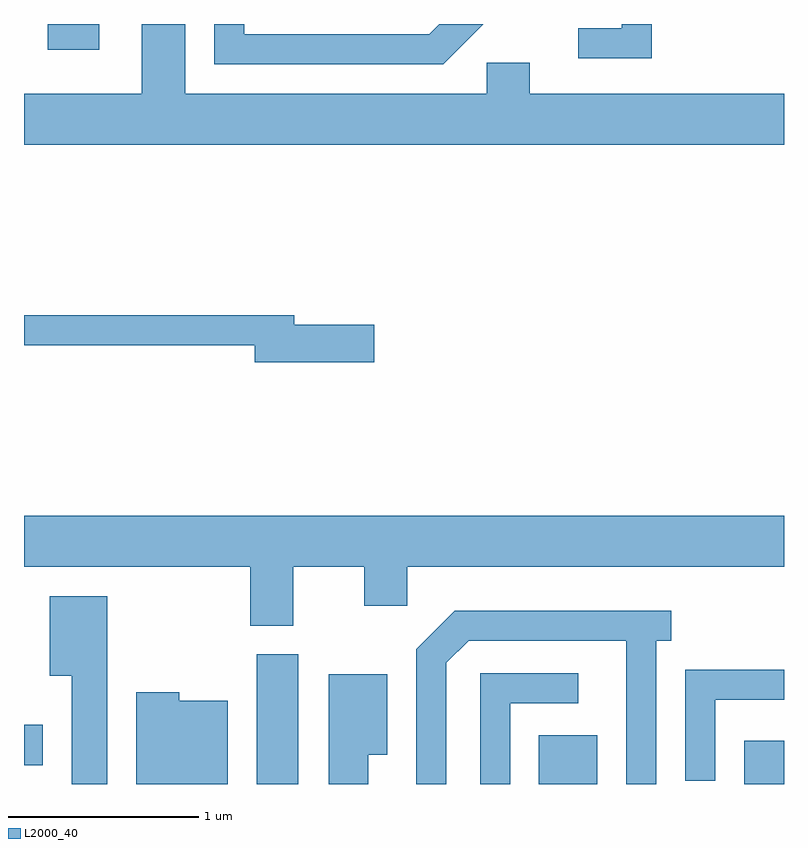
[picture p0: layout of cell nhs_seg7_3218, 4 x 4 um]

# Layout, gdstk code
import gdstk
lib = gdstk.Library(unit=1e-6, precision=1e-09)
def R(c, l, rs):  # rectangles x0, y0, x1, y1
    for r in rs: c.add(gdstk.rectangle(r[:2], r[2:], *l))
def P(c, l, *ps):  # polygons
    for p in ps: c.add(gdstk.Polygon(p, *l))
L2000_40 = (2000, 40)

nhs_seg7_3218 = lib.new_cell('nhs_seg7_3218')
R(nhs_seg7_3218, L2000_40, [(284.836,1744.252,285.054,1744.934), (286.321,1744.252,286.629,1744.509), (287.401,1744.252,287.611,1744.479), (283.611,1744.351,283.709,1744.564), (283.736,1748.116,284.008,1748.252)])
P(nhs_seg7_3218, L2000_40, [(287.611,1747.884),(286.274,1747.884),(286.274,1748.049),(286.046,1748.049),(286.046,1747.884),(284.459,1747.884),(284.459,1748.252),(284.231,1748.252),(284.231,1747.884),(283.611,1747.884),(283.611,1747.616),(287.611,1747.616)],
  [(286.027,1748.252),(285.797,1748.252),(285.744,1748.199),(284.769,1748.199),(284.769,1748.252),(284.611,1748.252),(284.611,1748.041),(285.817,1748.041)],
  [(286.914,1748.252),(286.756,1748.252),(286.756,1748.229),(286.528,1748.229),(286.528,1748.071),(286.914,1748.071)],
  [(285.454,1746.669),(285.034,1746.669),(285.034,1746.719),(283.611,1746.719),(283.611,1746.561),(284.826,1746.561),(284.826,1746.471),(285.454,1746.471)],
  [(285.029,1745.396),(285.401,1745.396),(285.401,1745.191),(285.629,1745.191),(285.629,1745.396),(287.611,1745.396),(287.611,1745.664),(283.611,1745.664),(283.611,1745.396),(284.801,1745.396),(284.801,1745.086),(285.029,1745.086)],
  [(284.049,1745.239),(283.746,1745.239),(283.746,1744.821),(283.861,1744.821),(283.861,1744.252),(284.049,1744.252)],
  [(285.834,1744.889),(285.952,1745.006),(286.781,1745.006),(286.781,1744.252),(286.939,1744.252),(286.939,1745.006),(287.018,1745.006),(287.018,1745.164),(285.879,1745.164),(285.676,1744.962),(285.676,1744.252),(285.834,1744.252)],
  [(287.249,1744.696),(287.611,1744.696),(287.611,1744.854),(287.091,1744.854),(287.091,1744.268),(287.249,1744.268)],
  [(286.169,1744.676),(286.528,1744.676),(286.528,1744.834),(286.011,1744.834),(286.011,1744.252),(286.169,1744.252)],
  [(285.424,1744.406),(285.524,1744.406),(285.524,1744.829),(285.216,1744.829),(285.216,1744.252),(285.424,1744.252)],
  [(284.684,1744.689),(284.429,1744.689),(284.429,1744.734),(284.201,1744.734),(284.201,1744.252),(284.684,1744.252)])

lib.write_gds('nhs_seg7_3218.gds')
